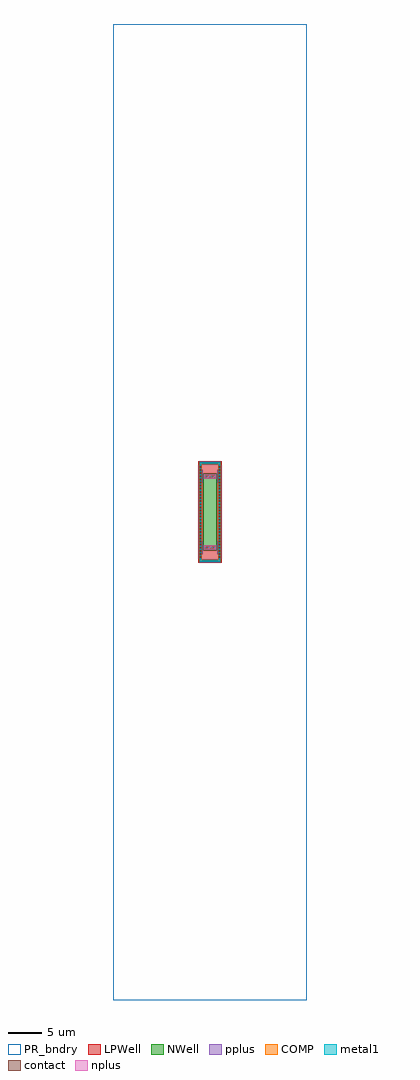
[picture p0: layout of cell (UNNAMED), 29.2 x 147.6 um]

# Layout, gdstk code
import gdstk
lib = gdstk.Library(unit=1e-6, precision=1e-09)
def R(c, l, rs):  # rectangles x0, y0, x1, y1
    for r in rs: c.add(gdstk.rectangle(r[:2], r[2:], *l))
def A(c, l, x, y, w, h, nx, ny, dx, dy):  # array of equal rectangles
    R(c, l, [(x+i*dx, y+j*dy, x+i*dx+w, y+j*dy+h) for i in range(nx) for j in range(ny)])
PR_bndry = (0, 0)
NWell = (21, 0)
COMP = (22, 0)
pplus = (31, 0)
nplus = (32, 0)
contact = (33, 0)
metal1 = (34, 0)
LPWell = (204, 0)

c__unnamed_ = lib.new_cell('(UNNAMED)')
R(c__unnamed_, PR_bndry, [(-14.6,-73.8,14.6,73.8)])
R(c__unnamed_, NWell, [(-1,-5.8,1,5.8)])
R(c__unnamed_, COMP, [(-1.64,-7.56,1.64,-7.2), (-1.64,-7.2,-1.28,7.2), (1.28,-7.2,1.64,7.2), (-0.76,-5.56,0.76,-5.2), (-0.76,5.2,0.76,5.56), (-1.64,7.2,1.64,7.56)])
R(c__unnamed_, pplus, [(-1.66,-7.58,1.66,-7.18), (-1.66,-7.18,-1.25,-7.075), (1.25,-7.18,1.66,-7.075), (-1.67,-7.075,-1.25,-6.39), (1.25,-7.075,1.67,-6.39), (-1.67,-6.39,-1.12,-4.41), (1.12,-6.39,1.67,-4.41), (-1.67,-4.41,-1.25,4.41), (1.25,-4.41,1.67,4.41), (-1.67,4.41,-1.12,6.39), (1.12,4.41,1.67,6.39), (-1.67,6.39,-1.25,7.075), (1.25,6.39,1.67,7.075), (-1.66,7.075,-1.25,7.18), (1.25,7.075,1.66,7.18), (-1.66,7.18,1.66,7.58)])
R(c__unnamed_, nplus, [(-0.92,-5.72,0.92,-5.04), (-0.92,5.04,0.92,5.72)])
A(c__unnamed_, contact, -1.57, -6.925, 0.22, 0.22, 1, 30, 0, 0.47)
A(c__unnamed_, contact, 1.35, -6.925, 0.22, 0.22, 1, 30, 0, 0.47)
A(c__unnamed_, contact, -0.58, -5.49, 0.22, 0.22, 3, 2, 0.47, 10.76)
R(c__unnamed_, metal1, [(-1.575,-7.495,1.575,-7.265), (-1.575,-7.265,-1.345,7.265), (1.345,-7.265,1.575,7.265), (-0.75,-5.495,0.75,-5.265), (-0.75,5.265,0.75,5.495), (-1.575,7.265,1.575,7.495)])
R(c__unnamed_, LPWell, [(-1.76,-7.68,1.76,-5.8), (-1.76,-5.8,-1,5.8), (1,-5.8,1.76,5.8), (-1.76,5.8,1.76,7.68)])

lib.write_gds('_UNNAMED_.gds')
